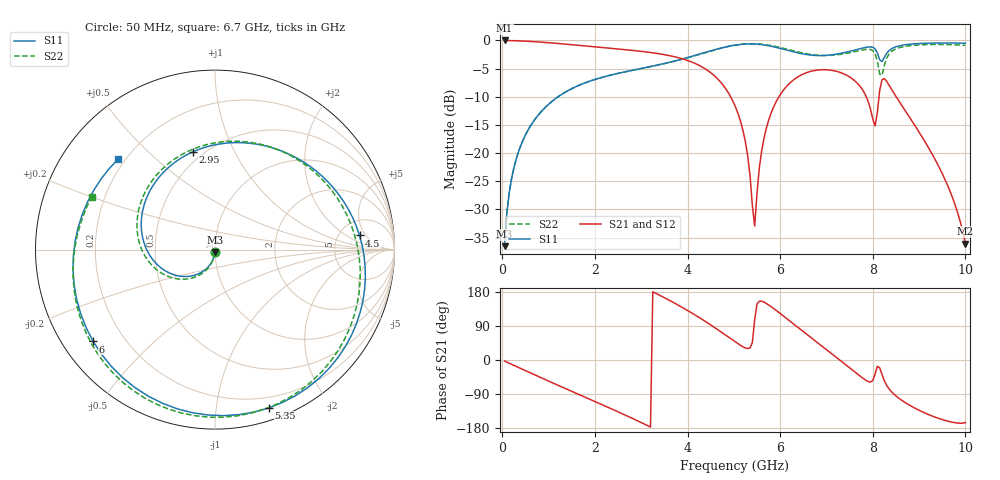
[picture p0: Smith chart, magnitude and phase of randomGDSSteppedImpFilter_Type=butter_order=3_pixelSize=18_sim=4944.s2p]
! freq	dB(S11)	phase(S11)	dB(S12)	phase(S12)
!  dB(S21)	phase(S21)	dB(S22)	phase(S22)
!S-par simulation data
#  GHz  S  DB  R 50
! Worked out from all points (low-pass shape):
!   200 points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, 50 MHz to 10 GHz, reference 50 ohm
!   highest |S21| = 0.00 dB at 50 MHz (marker M1); lowest = -36.1 dB at 10 GHz (marker M2)
!   |S21| within 3 dB of the highest: start of sweep to 3.773 GHz
!   lowest |S11| = -36.5 dB at 50 MHz (marker M3), VSWR 1.03, Z = 49.9 - j1.49 ohm
!   |S11| at or under -10 dB: start of sweep to 1.205 GHz
!   |S22| runs from -36.5 to -0.6 dB; largest |S21 - S12| = 0
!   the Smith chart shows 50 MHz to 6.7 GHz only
!   S11 on the Smith chart (normalised r, x): 50 MHz: 1.00, -0.03; 2.95 GHz: 0.44, +0.70; 4.5 GHz: 7.83, +3.56; 5.35 GHz: 0.10, -1.39; 6 GHz: 0.09, -0.33; 6.7 GHz: 0.17, +0.39
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0.05  -36.53 -92.9  -0.00 -2.9  -0.00 -2.9  -36.53 -92.5
0.2  -24.53 -102.2  -0.03 -11.3  -0.03 -11.3  -24.53 -101.0
0.5  -16.79 -120.2  -0.13 -28.1  -0.13 -28.1  -16.78 -117.2
1.75  -7.65 168.5  -0.95 -96.1  -0.95 -96.1  -7.65 177.8
2.95  -5.06 102.6  -1.89 -162.2  -1.89 -162.2  -5.08 111.5
3.4  -4.28 77.3  -2.38 170.7  -2.38 170.7  -4.32 82.6
3.95  -3.15 44.1  -3.42 134.3  -3.42 134.3  -3.21 42.7
4.5  -1.84 5.6  -5.73 92.6  -5.73 92.6  -1.89 -2.9
5.05  -0.80 -41.5  -12.11 46.2  -12.11 46.2  -0.81 -53.5
5.35  -0.62 -71.3  -24.04 32.0  -24.04 32.0  -0.59 -82.3
5.45  -0.64 -81.7  -32.94 106.8  -32.94 106.8  -0.59 -91.8
5.65  -0.80 -103.4  -17.39 152.8  -17.39 152.8  -0.72 -110.8
6  -1.41 -143.0  -9.65 122.8  -9.65 122.8  -1.26 -142.7
6.35  -2.15 176.4  -6.64 89.3  -6.64 89.3  -1.98 -173.0
6.7  -2.63 136.8  -5.41 55.8  -5.41 55.8  -2.53 156.9
7.5  -1.94 59.6  -6.49 -20.6  -6.49 -20.6  -2.18 75.6
7.8  -1.32 34.2  -9.04 -49.2  -9.04 -49.2  -1.65 38.1
8.05  -1.50 8.8  -15.19 -37.0  -15.19 -37.0  -2.35 -1.9
8.2  -3.75 9.8  -6.97 -38.3  -6.97 -38.3  -6.20 5.9
8.35  -1.82 7.9  -7.91 -76.0  -7.91 -76.0  -2.43 -1.6
9.1  -0.51 -34.7  -17.61 -138.4  -17.61 -138.4  -0.76 -70.9
10  -0.49 -70.0  -36.06 -165.2  -36.06 -165.2  -0.88 -124.1
